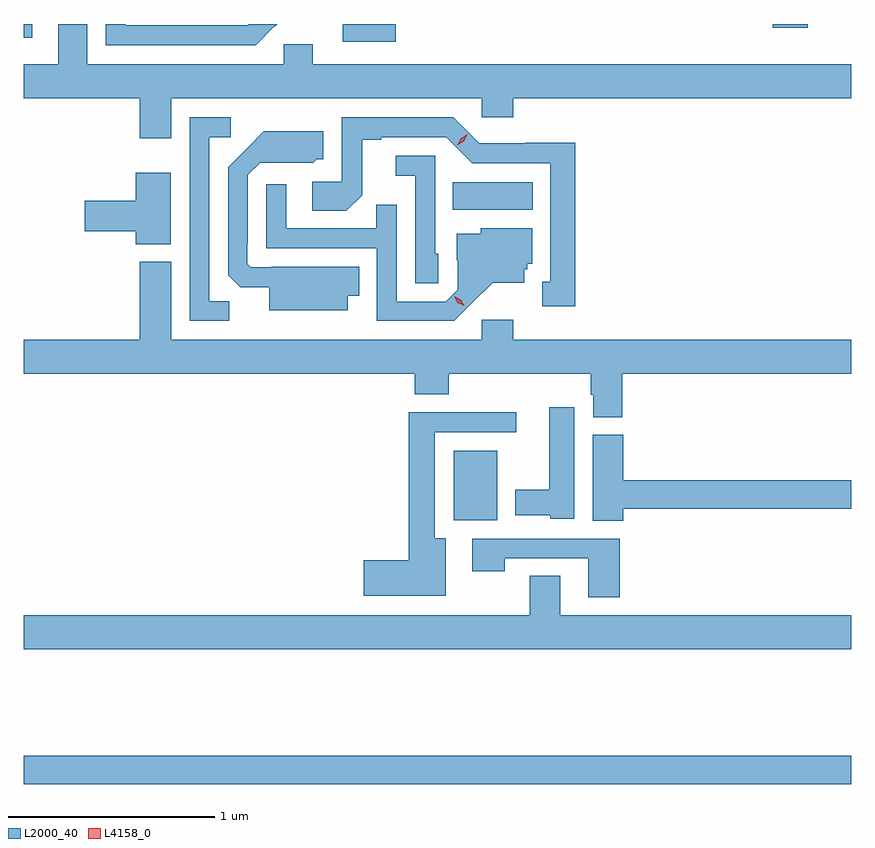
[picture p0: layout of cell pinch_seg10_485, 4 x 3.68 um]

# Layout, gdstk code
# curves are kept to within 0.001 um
import gdstk
lib = gdstk.Library(unit=1e-6, precision=1e-09)
def R(c, l, rs):  # rectangles x0, y0, x1, y1
    for r in rs: c.add(gdstk.rectangle(r[:2], r[2:], *l))
def P(c, l, *ps):  # polygons
    for p in ps: c.add(gdstk.Polygon(p, *l))
L2000_40 = (2000, 40)
L4158_0 = (4158, 0)

pinch_seg10_485 = lib.new_cell('pinch_seg10_485')
R(pinch_seg10_485, L2000_40, [(216.546,1266.364,220.546,1266.5), (218.624,1267.64,218.836,1267.975), (218.62,1269.14,219.007,1269.274), (218.088,1269.954,218.345,1270.039), (216.546,1269.972,216.586,1270.039), (220.166,1270.02,220.336,1270.039)])
P(pinch_seg10_485, L2000_40, [(217.757,1270.027),(217.758,1270.026),(217.771,1270.039),(217.633,1270.039),(217.627,1270.033),(217.523,1270.033),(217.523,1270.032),(217.039,1270.032),(217.039,1270.039),(216.942,1270.039),(216.942,1269.936),(217.666,1269.936)],
  [(217.258,1269.68),(218.76,1269.68),(218.76,1269.587),(218.912,1269.587),(218.912,1269.68),(220.546,1269.68),(220.546,1269.844),(217.942,1269.844),(217.942,1269.942),(217.803,1269.942),(217.803,1269.844),(216.853,1269.844),(216.853,1270.039),(216.713,1270.039),(216.713,1269.844),(216.546,1269.844),(216.546,1269.68),(217.106,1269.68),(217.106,1269.486),(217.258,1269.486)],
  [(217.539,1268.699),(217.443,1268.699),(217.443,1269.492),(217.546,1269.492),(217.546,1269.588),(217.347,1269.588),(217.347,1268.604),(217.539,1268.604)],
  [(219.211,1269.464),(218.97,1269.464),(218.97,1269.462),(218.748,1269.462),(218.622,1269.588),(218.082,1269.588),(218.082,1269.276),(217.941,1269.276),(217.941,1269.136),(218.105,1269.136),(218.181,1269.212),(218.181,1269.48),(218.275,1269.48),(218.275,1269.492),(218.589,1269.492),(218.715,1269.366),(219.092,1269.366),(219.092,1268.793),(219.053,1268.793),(219.053,1268.673),(219.211,1268.673)],
  [(218.113,1268.726),(218.168,1268.726),(218.168,1268.866),(217.744,1268.866),(217.744,1268.862),(217.644,1268.862),(217.626,1268.88),(217.626,1268.98),(217.629,1268.98),(217.629,1269.309),(217.689,1269.369),(217.946,1269.368),(217.962,1269.384),(217.993,1269.384),(217.993,1269.52),(217.705,1269.52),(217.533,1269.346),(217.533,1268.824),(217.592,1268.765),(217.733,1268.765),(217.733,1268.654),(218.113,1268.654)],
  [(218.55,1268.928),(218.535,1268.928),(218.535,1269.402),(218.343,1269.402),(218.343,1269.305),(218.439,1269.305),(218.439,1268.785),(218.55,1268.785)],
  [(217.255,1269.319),(217.088,1269.319),(217.088,1269.185),(216.84,1269.185),(216.84,1269.038),(217.088,1269.038),(217.088,1268.975),(217.255,1268.975)],
  [(218.71,1268.687),(218.813,1268.789),(218.965,1268.789),(218.965,1268.853),(218.979,1268.853),(218.979,1268.88),(219.004,1268.88),(219.004,1269.052),(218.754,1269.052),(218.754,1269.025),(218.639,1269.025),(218.639,1268.896),(218.643,1268.896),(218.643,1268.754),(218.586,1268.697),(218.349,1268.697),(218.349,1269.164),(218.251,1269.164),(218.251,1269.051),(217.815,1269.051),(217.815,1269.265),(217.719,1269.265),(217.719,1268.955),(218.253,1268.955),(218.253,1268.604),(218.626,1268.604)],
  [(219.44,1268.348),(220.546,1268.348),(220.546,1268.512),(218.912,1268.512),(218.912,1268.608),(218.76,1268.608),(218.76,1268.512),(217.258,1268.512),(217.258,1268.89),(217.106,1268.89),(217.106,1268.512),(216.546,1268.512),(216.546,1268.348),(218.435,1268.348),(218.435,1268.249),(218.6,1268.249),(218.6,1268.348),(219.287,1268.348),(219.287,1268.247),(219.299,1268.247),(219.299,1268.137),(219.44,1268.137)],
  [(219.208,1268.185),(219.086,1268.185),(219.086,1267.786),(218.921,1267.786),(218.921,1267.664),(219.09,1267.664),(219.09,1267.646),(219.208,1267.646)],
  [(218.587,1267.552),(218.533,1267.552),(218.533,1268.064),(218.926,1268.064),(218.926,1268.162),(218.408,1268.162),(218.408,1267.445),(218.19,1267.445),(218.19,1267.274),(218.587,1267.274)],
  [(219.443,1267.696),(220.546,1267.696),(220.546,1267.832),(219.443,1267.832),(219.443,1268.052),(219.296,1268.052),(219.296,1267.636),(219.443,1267.636)],
  [(219.428,1267.551),(218.715,1267.551),(218.715,1267.392),(218.871,1267.392),(218.871,1267.455),(219.275,1267.455),(219.275,1267.266),(219.428,1267.266)],
  [(220.546,1267.18),(219.139,1267.18),(219.139,1267.37),(218.992,1267.37),(218.992,1267.18),(216.546,1267.18),(216.546,1267.016),(220.546,1267.016)])
P(pinch_seg10_485, L4158_0, [(218.642,1269.452),(218.642,1269.453),(218.659,1269.485),(218.691,1269.505),(218.691,1269.505),(218.691,1269.504),(218.674,1269.472),(218.642,1269.452)],
  [(218.675,1268.676),(218.644,1268.692),(218.627,1268.722),(218.627,1268.722),(218.628,1268.722),(218.658,1268.706),(218.675,1268.677),(218.675,1268.676)])

lib.write_gds('pinch_seg10_485.gds')
